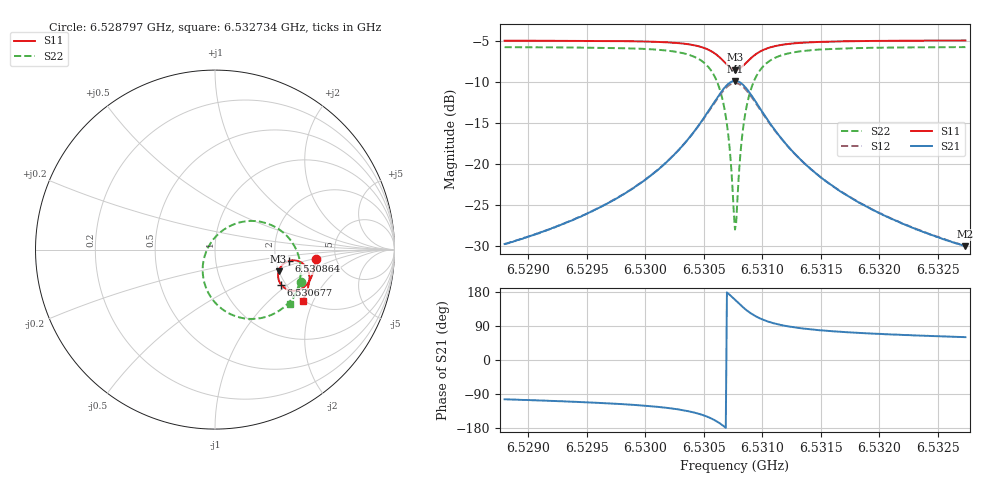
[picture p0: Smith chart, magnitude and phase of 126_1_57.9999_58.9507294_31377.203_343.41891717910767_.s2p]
#  HZ  S  RI  R  50.00
! Rohde & Schwarz Vector Network Analyzer
! Rohde-Schwarz,ZNB20-2Port,1311601062101988,3.16
! Created: UTC 3/21/2024, 12:55:55 AM
! freq[Hz]  re:S11  im:S11  re:S21  im:S21  re:S12  im:S12  re:S22  im:S22
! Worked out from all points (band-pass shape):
!   401 points, 6.528797 GHz to 6.532734 GHz, reference 50 ohm
!   highest |S21| = -9.88 dB at 6.530766 GHz (marker M1); lowest = -30.0 dB at 6.532734 GHz (marker M2)
!   |S21| within 3 dB of the highest: 6.530569 GHz to 6.530964 GHz (394.2 kHz wide, 0.00604 % of centre)
!   lowest |S11| = -8.5 dB at 6.530766 GHz (marker M3), VSWR 2.20, Z = 99.5 - j28.2 ohm
!   |S11| at or under -10 dB: nowhere
!   |S22| runs from -28.0 to -5.8 dB; largest |S21 - S12| = 0.013
!   S11 on the Smith chart (normalised r, x): 6.528797 GHz: 3.49, -0.55; 6.530677 GHz: 1.89, -0.89; 6.530864 GHz: 2.36, -0.36; 6.532734 GHz: 1.98, -1.66
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6.5287973e9  0.5606 -0.0537  -0.00773 -0.0317  -0.00835 -0.0316  0.4807 -0.1829
6.5294567e9  0.5512 -0.1095  -0.0174 -0.0451  -0.0185 -0.0447  0.4484 -0.2455
6.5298208e9  0.5406 -0.1444  -0.0298 -0.0588  -0.0314 -0.0582  0.4153 -0.2896
6.530116e9  0.524 -0.1777  -0.0523 -0.0775  -0.0547 -0.0761  0.3641 -0.3361
6.5303424e9  0.4968 -0.2081  -0.0936 -0.098  -0.0969 -0.0947  0.2799 -0.3758
6.5305097e9  0.4519 -0.2281  -0.1648 -0.1054  -0.1676 -0.0982  0.1487 -0.3807
6.5306081e9  0.4052 -0.2232  -0.2376 -0.0785  -0.2369 -0.0679  0.0268 -0.3208
6.530677e9  0.3683 -0.1949  -0.2914 -0.0178  -0.2854 -0.00676  -0.0519 -0.2077
6.5307164e9  0.3541 -0.1657  -0.3087 0.0374  -0.299 0.0464  -0.0688 -0.1131
6.5307557e9  0.3523 -0.1307  -0.304 0.1006  -0.2923 0.1058  -0.0488 -0.0105
6.5307656e9  0.3541 -0.1218  -0.2988 0.1161  -0.2872 0.1201  -0.0375 0.0138
6.5307754e9  0.357 -0.1132  -0.2924 0.1311  -0.2805 0.1342  -0.0237 0.0369
6.5307853e9  0.3609 -0.1051  -0.2844 0.1454  -0.2726 0.1472  -0.00809 0.0587
6.5308246e9  0.3829 -0.0781  -0.2414 0.1909  -0.2314 0.1893  0.071 0.125
6.530864e9  0.4108 -0.0634  -0.1907 0.2155  -0.1833 0.2123  0.1594 0.1559
6.5309329e9  0.4558 -0.0619  -0.1119 0.2184  -0.1081 0.2151  0.2917 0.1453
6.5310313e9  0.496 -0.0836  -0.0438 0.1867  -0.0422 0.1848  0.4018 0.075
6.5311789e9  0.5196 -0.12  -0.00262 0.1381  -0.00114 0.1376  0.4622 -0.024
6.5314249e9  0.5264 -0.1639  0.0153 0.0905  0.0165 0.0902  0.4776 -0.1245
6.5316907e9  0.5224 -0.1971  0.0183 0.064  0.0195 0.0637  0.4693 -0.1863
6.5320843e9  0.5109 -0.235  0.0179 0.0436  0.0188 0.0433  0.4499 -0.2429
6.5327338e9  0.4876 -0.2854  0.0157 0.0275  0.0162 0.0273  0.4161 -0.303
